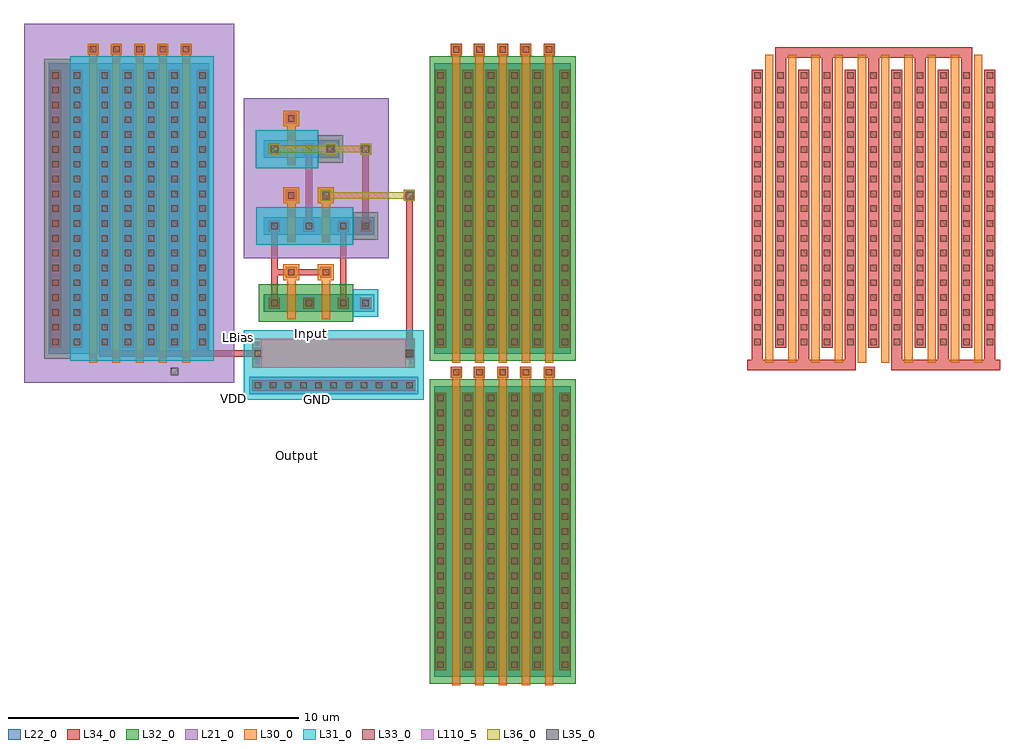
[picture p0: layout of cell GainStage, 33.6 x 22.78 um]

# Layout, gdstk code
from math import pi, radians
import gdstk
lib = gdstk.Library(unit=1e-6, precision=1e-09)
def R(c, l, rs):  # rectangles x0, y0, x1, y1
    for r in rs: c.add(gdstk.rectangle(r[:2], r[2:], *l))
def A(c, l, x, y, w, h, nx, ny, dx, dy):  # array of equal rectangles
    R(c, l, [(x+i*dx, y+j*dy, x+i*dx+w, y+j*dy+h) for i in range(nx) for j in range(ny)])
def P(c, l, *ps):  # polygons
    for p in ps: c.add(gdstk.Polygon(p, *l))
L21_0 = (21, 0)
L22_0 = (22, 0)
L30_0 = (30, 0)
L31_0 = (31, 0)
L32_0 = (32, 0)
L33_0 = (33, 0)
L34_0 = (34, 0)
L35_0 = (35, 0)
L36_0 = (36, 0)
L110_5 = (110, 5)

pfet = lib.new_cell('pfet')
R(pfet, L21_0, [(-1.32,-0.99,5.91,11.37)])
R(pfet, L22_0, [(-0.46,0,5.05,10)])
P(pfet, L30_0, [(0.19,-0.3),(0.19,10.3),(0.14,10.3),(0.14,10.68),(0.52,10.68),(0.52,10.3),(0.47,10.3),(0.47,-0.3)],
  [(0.99,-0.3),(0.99,10.3),(0.94,10.3),(0.94,10.68),(1.32,10.68),(1.32,10.3),(1.27,10.3),(1.27,-0.3)],
  [(1.79,-0.3),(1.79,10.3),(1.74,10.3),(1.74,10.68),(2.12,10.68),(2.12,10.3),(2.07,10.3),(2.07,-0.3)],
  [(2.59,-0.3),(2.59,10.3),(2.54,10.3),(2.54,10.68),(2.92,10.68),(2.92,10.3),(2.87,10.3),(2.87,-0.3)],
  [(3.39,-0.3),(3.39,10.3),(3.34,10.3),(3.34,10.68),(3.72,10.68),(3.72,10.3),(3.67,10.3),(3.67,-0.3)])
R(pfet, L31_0, [(-0.63,-0.24,4.32,10.24)])
R(pfet, L32_0, [(4.32,-0.17,5.22,10.17)])
A(pfet, L33_0, -0.34, 0.3, 0.22, 0.22, 1, 19, 0, 0.51)
A(pfet, L33_0, 0.62, 0.3, 0.22, 0.22, 4, 19, 0.8, 0.51)
A(pfet, L33_0, 3.98, 0.3, 0.22, 0.22, 1, 19, 0, 0.51)
A(pfet, L33_0, 4.71, 0.3, 0.22, 0.22, 1, 19, 0, 0.51)
A(pfet, L33_0, 0.22, 10.38, 0.22, 0.22, 5, 1, 0.8, 0)
A(pfet, L34_0, 0.54, 0.22, 0.38, 9.56, 4, 1, 0.8, 0)
A(pfet, L34_0, 0.14, 10.3, 0.38, 0.38, 5, 1, 0.8, 0)
R(pfet, L34_0, [(-0.42,0.22,-0.04,9.78), (3.9,0.22,4.28,9.78), (4.63,0.22,5.01,9.78)])

nfet = lib.new_cell('nfet')
R(nfet, L22_0, [(-0.42,0,4.28,10)])
P(nfet, L30_0, [(0.19,-0.3),(0.19,10.3),(0.15,10.3),(0.15,10.66),(0.51,10.66),(0.51,10.3),(0.47,10.3),(0.47,-0.3)],
  [(0.99,-0.3),(0.99,10.3),(0.95,10.3),(0.95,10.66),(1.31,10.66),(1.31,10.3),(1.27,10.3),(1.27,-0.3)],
  [(1.79,-0.3),(1.79,10.3),(1.75,10.3),(1.75,10.66),(2.11,10.66),(2.11,10.3),(2.07,10.3),(2.07,-0.3)],
  [(2.59,-0.3),(2.59,10.3),(2.55,10.3),(2.55,10.66),(2.91,10.66),(2.91,10.3),(2.87,10.3),(2.87,-0.3)],
  [(3.39,-0.3),(3.39,10.3),(3.35,10.3),(3.35,10.66),(3.71,10.66),(3.71,10.3),(3.67,10.3),(3.67,-0.3)])
R(nfet, L32_0, [(-0.59,-0.24,4.45,10.24)])
A(nfet, L33_0, -0.32, 0.3, 0.22, 0.22, 1, 19, 0, 0.51)
A(nfet, L33_0, 0.62, 0.3, 0.22, 0.22, 4, 19, 0.8, 0.51)
A(nfet, L33_0, 3.96, 0.3, 0.22, 0.22, 1, 19, 0, 0.51)
A(nfet, L33_0, 0.22, 10.37, 0.22, 0.22, 5, 1, 0.8, 0)
A(nfet, L34_0, 0.54, 0.22, 0.38, 9.56, 4, 1, 0.8, 0)
A(nfet, L34_0, 0.14, 10.29, 0.38, 0.38, 5, 1, 0.8, 0)
R(nfet, L34_0, [(-0.4,0.22,-0.02,9.78), (3.88,0.22,4.26,9.78)])

gainstage = lib.new_cell('GainStage')
R(gainstage, L21_0, [(-2.25,4.88,2.75,10.38)])
R(gainstage, L22_0, [(-2.06,0.2,3.76,0.8), (-1.55,3.03,2.25,3.63), (-1.55,5.68,2.25,6.28), (-1.55,8.33,1.05,8.93)])
A(gainstage, L30_0, 15.7, 1.28, 0.28, 10.6, 10, 1, 0.8, 0)
A(gainstage, L30_0, -0.75, 2.78, 0.3, 1.34, 1, 3, 0, 2.65)
A(gainstage, L30_0, -0.88, 4.12, 0.54, 0.54, 1, 3, 0, 2.65)
R(gainstage, L30_0, [(-1.95,1.1,3.65,2.1), (0.44,2.78,0.74,4.12), (0.31,4.12,0.85,4.66), (0.44,5.43,0.74,6.77), (0.31,6.77,0.85,7.31)])
R(gainstage, L31_0, [(-2.25,0,3.95,2.4), (1.525,2.855,2.38,3.805), (-1.82,5.33,1.53,6.63), (-1.825,7.98,0.325,9.28)])
R(gainstage, L32_0, [(-1.725,2.68,1.525,3.98), (1.53,5.51,2.385,6.46), (0.325,8.16,1.18,9.11)])
A(gainstage, L33_0, -1.87, 0.39, 0.22, 0.22, 11, 1, 0.522, 0)
A(gainstage, L33_0, 15.33, 1.88, 0.22, 0.22, 11, 19, 0.8, 0.51)
A(gainstage, L33_0, -1.3, 3.22, 0.22, 0.22, 1, 3, 0, 2.65)
A(gainstage, L33_0, -0.11, 3.22, 0.22, 0.22, 1, 3, 0, 2.65)
A(gainstage, L33_0, -0.72, 4.28, 0.22, 0.22, 1, 3, 0, 2.65)
R(gainstage, L33_0, [(-1.87,1.49,-1.65,1.71), (3.35,1.49,3.57,1.71), (1.07,3.22,1.29,3.44), (1.84,3.22,2.06,3.44), (0.47,4.28,0.69,4.5), (1.07,5.87,1.29,6.09), (1.84,5.87,2.06,6.09), (0.47,6.93,0.69,7.15), (0.64,8.52,0.86,8.74)])
A(gainstage, L34_0, 15.25, 1.38, 0.38, 0.42, 6, 1, 1.6, 0)
A(gainstage, L34_0, 15.25, 1.8, 0.38, 9.56, 11, 1, 0.8, 0)
A(gainstage, L34_0, -1.38, 3.14, 0.38, 0.38, 1, 3, 0, 2.65)
A(gainstage, L34_0, -0.19, 3.14, 0.38, 0.38, 1, 3, 0, 2.65)
A(gainstage, L34_0, 1.76, 3.14, 0.38, 0.38, 1, 3, 0, 2.65)
A(gainstage, L34_0, -0.8, 4.2, 0.38, 0.38, 1, 3, 0, 2.65)
A(gainstage, L34_0, 16.05, 11.36, 0.38, 0.42, 5, 1, 1.6, 0)
R(gainstage, L34_0, [(-1.96,0.32,3.66,0.68), (15.09,1.02,18.83,1.38), (20.05,1.02,23.79,1.38), (-1.95,1.41,-1.57,1.79), (3.27,1.41,3.65,1.79), (-7.22,1.49,-6.84,1.8), (-7.22,1.49,-1.65,1.71), (-5.62,1.49,-5.24,1.8), (-3.86,1.49,-3.48,1.8), (3.35,1.49,3.57,7.15), (0.99,3.14,1.37,3.52), (-1.3,3.52,-1.08,5.79), (1.07,3.52,1.29,5.79), (0.39,4.2,0.77,4.58), (-1.3,4.28,-0.8,4.5), (-0.42,4.28,0.39,4.5), (0.99,5.79,1.37,6.17), (-0.11,6.17,0.11,8.44), (1.84,6.17,2.06,8.44), (0.39,6.85,0.77,7.23), (3.27,6.85,3.65,7.23), (0.56,8.44,0.94,8.82), (16.05,11.78,22.83,12.14)])
R(gainstage, L35_0, [(-4.76,0.84,-4.5,1.1), (3.33,1.47,3.59,1.73), (1.82,5.85,2.08,6.11), (0.45,6.91,0.71,7.17), (3.33,6.91,3.59,7.17), (-1.32,8.5,-1.06,8.76), (0.62,8.5,0.88,8.76), (1.82,8.5,2.08,8.76)])
R(gainstage, L36_0, [(0.39,6.85,0.77,7.23), (3.27,6.85,3.65,7.23), (0.47,6.93,3.57,7.15), (-1.38,8.44,-1,8.82), (0.56,8.44,0.94,8.82), (1.76,8.44,2.14,8.82), (-1.3,8.52,2.06,8.74)])
R(gainstage, L110_5, [(-1.65,1.1,3.35,2.1)])
r = gdstk.Reference(pfet, (-3.9,1.58), rotation=pi, x_reflection=True); r.repetition = gdstk.Repetition(1, 1, v1=(0,0), v2=(0,0)); gainstage.add(r)
r = gdstk.Reference(nfet, (4.74,-9.53)); r.repetition = gdstk.Repetition(1, 1, v1=(0,0), v2=(0,0)); gainstage.add(r)
r = gdstk.Reference(nfet, (4.74,1.58)); r.repetition = gdstk.Repetition(1, 1, v1=(0,0), v2=(0,0)); gainstage.add(r)
gainstage.add(gdstk.Label('Output', (-0.404,-1.912), layer=34, texttype=10))
gainstage.add(gdstk.Label('VDD', (-2.598,0.036), layer=34, texttype=10))
gainstage.add(gdstk.Label('Input', (0.092,2.28), layer=34, texttype=10))
gainstage.add(gdstk.Label('CBias', (-0.09,2.28), layer=34, texttype=10))
gainstage.add(gdstk.Label('GND', (0.295,0), layer=34, texttype=10))
gainstage.add(gdstk.Label('LBias', (-2.413,2.134), layer=34, texttype=10))

lib.write_gds('GainStage.gds')
